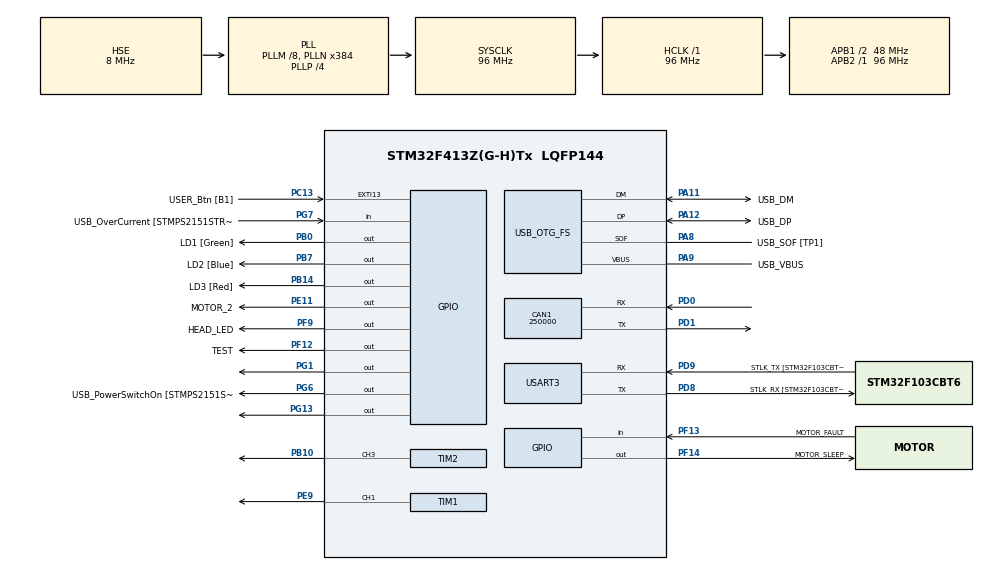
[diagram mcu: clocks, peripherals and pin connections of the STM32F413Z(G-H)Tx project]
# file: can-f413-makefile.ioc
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CAN1.BS1=CAN_BS1_8TQ
CAN1.BS2=CAN_BS2_3TQ
CAN1.CalculateBaudRate=250000
CAN1.CalculateTimeBit=4000
CAN1.CalculateTimeQuantum=333.3333333333333
Mcu.Family=STM32F4
Mcu.Name=STM32F413Z(G-H)Tx
Mcu.Package=LQFP144
NVIC.CAN1_RX0_IRQn=true\:0\:0\:false\:false\:true\:true\:true\:true
NVIC.PriorityGroup=NVIC_PRIORITYGROUP_4
NVIC.TIM4_IRQn=true\:0\:0\:false\:false\:true\:true\:true\:true
NVIC.TIM5_IRQn=true\:0\:0\:false\:false\:true\:true\:true\:true
PA10.GPIO_Label=USB_ID
PA10.Signal=USB_OTG_FS_ID
PA11.GPIO_Label=USB_DM
PA11.Mode=Device_Only
PA11.Signal=USB_OTG_FS_DM
PA12.GPIO_Label=USB_DP
PA12.Mode=Device_Only
PA12.Signal=USB_OTG_FS_DP
PA13.GPIO_Label=TMS
PA13.Mode=Serial_Wire
PA13.Signal=SYS_JTMS-SWDIO
PA14.GPIO_Label=TCK
PA14.Mode=Serial_Wire
PA14.Signal=SYS_JTCK-SWCLK
PA8.GPIO_Label=USB_SOF [TP1]
PA8.Mode=Activate_SOF_FS
PA8.Signal=USB_OTG_FS_SOF
PA9.GPIO_Label=USB_VBUS
PA9.Mode=Activate_VBUS
PA9.Signal=USB_OTG_FS_VBUS
PB0.GPIO_Label=LD1 [Green]
PB0.Signal=GPIO_Output
PB10.Signal=S_TIM2_CH3
PB14.GPIO_Label=LD3 [Red]
PB14.Signal=GPIO_Output
PB3.GPIO_Label=SWO
PB3.Signal=SYS_JTDO-SWO
PB7.GPIO_Label=LD2 [Blue]
PB7.Signal=GPIO_Output
PC13.GPIO_Label=USER_Btn [B1]
PC13.Signal=GPXTI13
PC14-OSC32_IN.Mode=LSE-External-Oscillator
PC14-OSC32_IN.Signal=RCC_OSC32_IN
PC15-OSC32_OUT.Mode=LSE-External-Oscillator
PC15-OSC32_OUT.Signal=RCC_OSC32_OUT
PD0.Mode=CAN_Activate
PD0.Signal=CAN1_RX
PD1.Mode=CAN_Activate
PD1.Signal=CAN1_TX
PD8.GPIO_Label=STLK_RX [STM32F103CBT6_PA3]
PD8.Mode=Asynchronous
PD8.Signal=USART3_TX
PD9.GPIO_Label=STLK_TX [STM32F103CBT6_PA2]
PD9.Mode=Asynchronous
PD9.Signal=USART3_RX
PE11.GPIO_Label=MOTOR_2
PE11.Signal=GPIO_Output
PE9.Signal=S_TIM1_CH1
PF12.GPIO_Label=TEST
PF12.GPIO_PuPd=GPIO_PULLUP
PF12.Signal=GPIO_Output
PF13.GPIO_Label=MOTOR_FAULT
PF13.Signal=GPIO_Input
PF14.GPIO_Label=MOTOR_SLEEP
PF14.GPIO_PuPd=GPIO_PULLUP
PF14.PinState=GPIO_PIN_SET
PF14.Signal=GPIO_Output
PF9.GPIO_Label=HEAD_LED
PF9.Signal=GPIO_Output
PG1.Signal=GPIO_Output
PG13.Signal=GPIO_Output
PG6.GPIO_Label=USB_PowerSwitchOn [STMPS2151STR_EN]
PG6.Signal=GPIO_Output
PG7.GPIO_Label=USB_OverCurrent [STMPS2151STR_FAULT]
PG7.Signal=GPIO_Input
PH0\ -\ OSC_IN.GPIO_Label=MCO
PH0\ -\ OSC_IN.Mode=HSE-External-Clock-Source
PH0\ -\ OSC_IN.Signal=RCC_OSC_IN
PH1\ -\ OSC_OUT.Mode=HSE-External-Clock-Source
PH1\ -\ OSC_OUT.Signal=RCC_OSC_OUT
ProjectManager.HeapSize=0x200
ProjectManager.StackSize=0x400
ProjectManager.TargetToolchain=Makefile
RCC.48MHZClocksFreq_Value=24000000
RCC.AHBFreq_Value=96000000
RCC.APB1CLKDivider=RCC_HCLK_DIV2
RCC.APB1Freq_Value=48000000
RCC.APB1TimFreq_Value=96000000
RCC.APB2Freq_Value=96000000
RCC.APB2TimFreq_Value=96000000
RCC.CortexFreq_Value=96000000
RCC.HCLKFreq_Value=96000000
RCC.HSE_VALUE=8000000
RCC.HSI_VALUE=16000000
RCC.PLLM=8
RCC.PLLMUL=RCC_PLL_MUL9
RCC.PLLN=384
RCC.PLLP=RCC_PLLP_DIV4
RCC.PLLQ=8
RCC.PRESCALERUSB=RCC_USBCLKSOURCE_PLL_DIV1_5
RCC.SYSCLKFreq_VALUE=96000000
RCC.SYSCLKSource=RCC_SYSCLKSOURCE_PLLCLK
RCC.SYSCLKSourceVirtual=RCC_SYSCLKSOURCE_PLLCLK
RCC.USBFreq_Value=48000000
RCC.VCOOutputFreq_Value=384000000
SH.S_TIM1_CH1.0=TIM1_CH1,PWM Generation1 CH1
SH.S_TIM2_CH3.0=TIM2_CH3,PWM Generation3 CH3
TIM1.Channel-PWM\ Generation1\ CH1=TIM_CHANNEL_1
TIM1.Period=99
TIM1.Prescaler=96
TIM2.Channel-PWM\ Generation3\ CH3=TIM_CHANNEL_3
TIM2.Period=19999
TIM2.Period=19999
TIM2.Prescaler=96
TIM4.Period=999
TIM4.Prescaler=9599
TIM5.Period=99999
TIM5.Prescaler=9699
USART3.VirtualMode=VM_ASYNC
USB_OTG_FS.VirtualMode=Device_Only
VP_TIM1_VS_ClockSourceINT.Mode=Internal
VP_TIM2_VS_ClockSourceINT.Mode=Internal
VP_TIM4_VS_ClockSourceINT.Mode=Internal
VP_TIM5_VS_ClockSourceINT.Mode=Internal
board=NUCLEO-F413ZH

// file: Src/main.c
/* USER CODE BEGIN Header */
/**
  ******************************************************************************
  * @file           : main.c
  * @brief          : Main program body
  ******************************************************************************
  * @attention
  *
  * Copyright (c) 2026 STMicroelectronics.
  * All rights reserved.
  *
  * This software is licensed under terms that can be found in the LICENSE file
  * in the root directory of this software component.
  * If no LICENSE file comes with this software, it is provided AS-IS.
  *
  ******************************************************************************
  */
/* USER CODE END Header */
#include "main.h"

CAN_HandleTypeDef hcan1;

TIM_HandleTypeDef htim2;
TIM_HandleTypeDef htim4;
TIM_HandleTypeDef htim5;

UART_HandleTypeDef huart3;

PCD_HandleTypeDef hpcd_USB_OTG_FS;

CAN_TxHeaderTypeDef   TxHeader;
CAN_RxHeaderTypeDef   RxHeader;
uint8_t               TxData[8];
uint8_t               RxData[8];
uint32_t              TxMailbox;

uint8_t wheels_running;
uint8_t wheel_speed;

void SystemClock_Config(void);
static void MX_GPIO_Init(void);
static void MX_CAN1_Init(void);
static void MX_USART3_UART_Init(void);
static void MX_USB_OTG_FS_PCD_Init(void);
static void MX_TIM2_Init(void);
static void MX_TIM5_Init(void);
static void MX_TIM4_Init(void);

int main(void)
{

  /* MCU Configuration--------------------------------------------------------*/

  /* Reset of all peripherals, Initializes the Flash interface and the Systick. */
  HAL_Init();

  /* Configure the system clock */
  SystemClock_Config();

  /* Initialize all configured peripherals */
  MX_GPIO_Init();
  MX_CAN1_Init();
  MX_USART3_UART_Init();
  MX_USB_OTG_FS_PCD_Init();
  MX_TIM2_Init();
  MX_TIM5_Init();
  MX_TIM4_Init();
  /* USER CODE BEGIN 2 */
  // --- STEP 1: CAN Filter Configuration ---
  // Setting all IDs and Masks to 0 accepts EVERY incoming message for testing purposes.
  CAN_FilterTypeDef sFilterConfig;

  sFilterConfig.FilterBank = 0;
  sFilterConfig.FilterMode = CAN_FILTERMODE_IDMASK;
  sFilterConfig.FilterScale = CAN_FILTERSCALE_32BIT;
  sFilterConfig.FilterIdHigh = 0x0000;
  sFilterConfig.FilterIdLow = 0x0000;
  sFilterConfig.FilterMaskIdHigh = 0x0000;
  sFilterConfig.FilterMaskIdLow = 0x0000;
  sFilterConfig.FilterFIFOAssignment = CAN_RX_FIFO0;
  sFilterConfig.FilterActivation = ENABLE;
  sFilterConfig.SlaveStartFilterBank = 14;

  if (HAL_CAN_ConfigFilter(&hcan1, &sFilterConfig) != HAL_OK)
  {
      Error_Handler();
  }

  // --- STEP 2: Start the CAN Peripheral ---
  if (HAL_CAN_Start(&hcan1) != HAL_OK)
  {
      Error_Handler();
  }

  // --- STEP 3: Activate RX Interrupt Notifications ---
  if (HAL_CAN_ActivateNotification(&hcan1, CAN_IT_RX_FIFO0_MSG_PENDING) != HAL_OK)
  {
      Error_Handler();
  }

  // --- STEP 4: Prepare Tx Message Header Attributes ---
  TxHeader.StdId = 0x102;          // Example Message Identifier (Standard ID)
  TxHeader.RTR = CAN_RTR_DATA;     // We are sending data frames, not remote requests
  TxHeader.IDE = CAN_ID_STD;       // Standard 11-bit identifier format
  TxHeader.DLC = 1;                // Sending 4 bytes of data payload
  TxHeader.TransmitGlobalTime = DISABLE;

  wheels_running = 0;
  wheel_speed = 0;

  HAL_TIM_PWM_Start(&htim2, TIM_CHANNEL_3);
  HAL_TIM_Base_Start_IT(&htim4);
  HAL_TIM_Base_Start_IT(&htim5);

  HAL_GPIO_WritePin(GPIOF, GPIO_PIN_14, GPIO_PIN_SET); //SLEEP PIN HIGH
  /* USER CODE END 2 */

  /* Infinite loop */
  /* USER CODE BEGIN WHILE */

  /* Infinite loop */
  /* USER CODE BEGIN WHILE */
  while (1)
  {
    /* USER CODE END WHILE */

    // SHOWCASE LOOP
    if (0) {
      // Internal LED
      HAL_GPIO_TogglePin(GPIOB, GPIO_PIN_0);
      HAL_Delay(1000);
      HAL_GPIO_TogglePin(GPIOB, GPIO_PIN_0);
      HAL_Delay(1000);

      // Headlight LEDs
      HAL_GPIO_TogglePin(GPIOF, GPIO_PIN_9);
      HAL_Delay(1000);
      HAL_GPIO_TogglePin(GPIOF, GPIO_PIN_9);
      HAL_Delay(1000);

      // Bonnet servo
      __HAL_TIM_SET_COMPARE(&htim2, TIM_CHANNEL_3, 1200);
      HAL_Delay(1000);
      __HAL_TIM_SET_COMPARE(&htim2, TIM_CHANNEL_3, 800);
      HAL_Delay(1000);

      // Wheel motors
      //HAL_GPIO_TogglePin(GPIOE, GPIO_PIN_9); // Motors 1
      HAL_GPIO_TogglePin(GPIOE, GPIO_PIN_11); // Motors 2
      HAL_Delay(500);
      HAL_GPIO_TogglePin(GPIOE, GPIO_PIN_11); // Motors 2
      HAL_Delay(1000);
    }
  }
  /* USER CODE END 3 */
}

void SystemClock_Config(void)
{
  RCC_OscInitTypeDef RCC_OscInitStruct = {0};
  RCC_ClkInitTypeDef RCC_ClkInitStruct = {0};

  /** Configure the main internal regulator output voltage
  */
  __HAL_RCC_PWR_CLK_ENABLE();
  __HAL_PWR_VOLTAGESCALING_CONFIG(PWR_REGULATOR_VOLTAGE_SCALE1);

  /** Initializes the RCC Oscillators according to the specified parameters
  * in the RCC_OscInitTypeDef structure.
  */
  RCC_OscInitStruct.OscillatorType = RCC_OSCILLATORTYPE_HSE;
  RCC_OscInitStruct.HSEState = RCC_HSE_BYPASS;
  RCC_OscInitStruct.PLL.PLLState = RCC_PLL_ON;
  RCC_OscInitStruct.PLL.PLLSource = RCC_PLLSOURCE_HSE;
  RCC_OscInitStruct.PLL.PLLM = 8;
  RCC_OscInitStruct.PLL.PLLN = 384;
  RCC_OscInitStruct.PLL.PLLP = RCC_PLLP_DIV4;
  RCC_OscInitStruct.PLL.PLLQ = 8;
  RCC_OscInitStruct.PLL.PLLR = 2;
  if (HAL_RCC_OscConfig(&RCC_OscInitStruct) != HAL_OK)
  {
    Error_Handler();
  }

  /** Initializes the CPU, AHB and APB buses clocks
  */
  RCC_ClkInitStruct.ClockType = RCC_CLOCKTYPE_HCLK|RCC_CLOCKTYPE_SYSCLK
                              |RCC_CLOCKTYPE_PCLK1|RCC_CLOCKTYPE_PCLK2;
  RCC_ClkInitStruct.SYSCLKSource = RCC_SYSCLKSOURCE_PLLCLK;
  RCC_ClkInitStruct.AHBCLKDivider = RCC_SYSCLK_DIV1;
  RCC_ClkInitStruct.APB1CLKDivider = RCC_HCLK_DIV2;
  RCC_ClkInitStruct.APB2CLKDivider = RCC_HCLK_DIV1;

  if (HAL_RCC_ClockConfig(&RCC_ClkInitStruct, FLASH_LATENCY_3) != HAL_OK)
  {
    Error_Handler();
  }
}

static void MX_CAN1_Init(void)
{

  hcan1.Instance = CAN1;
  hcan1.Init.Prescaler = 16;
  hcan1.Init.Mode = CAN_MODE_NORMAL;
  hcan1.Init.SyncJumpWidth = CAN_SJW_1TQ;
  hcan1.Init.TimeSeg1 = CAN_BS1_8TQ;
  hcan1.Init.TimeSeg2 = CAN_BS2_3TQ;
  hcan1.Init.TimeTriggeredMode = DISABLE;
  hcan1.Init.AutoBusOff = DISABLE;
  hcan1.Init.AutoWakeUp = DISABLE;
  hcan1.Init.AutoRetransmission = DISABLE;
  hcan1.Init.ReceiveFifoLocked = DISABLE;
  hcan1.Init.TransmitFifoPriority = DISABLE;
  if (HAL_CAN_Init(&hcan1) != HAL_OK)
  {
    Error_Handler();
  }

}

static void MX_TIM2_Init(void)
{

  TIM_ClockConfigTypeDef sClockSourceConfig = {0};
  TIM_MasterConfigTypeDef sMasterConfig = {0};
  TIM_OC_InitTypeDef sConfigOC = {0};

  htim2.Instance = TIM2;
  htim2.Init.Prescaler = 96;
  htim2.Init.CounterMode = TIM_COUNTERMODE_UP;
  htim2.Init.Period = 19999;
  htim2.Init.Period = 19999;
  htim2.Init.ClockDivision = TIM_CLOCKDIVISION_DIV1;
  htim2.Init.AutoReloadPreload = TIM_AUTORELOAD_PRELOAD_DISABLE;
  if (HAL_TIM_Base_Init(&htim2) != HAL_OK)
  {
    Error_Handler();
  }
  sClockSourceConfig.ClockSource = TIM_CLOCKSOURCE_INTERNAL;
  if (HAL_TIM_ConfigClockSource(&htim2, &sClockSourceConfig) != HAL_OK)
  {
    Error_Handler();
  }
  if (HAL_TIM_PWM_Init(&htim2) != HAL_OK)
  {
    Error_Handler();
  }
  sMasterConfig.MasterOutputTrigger = TIM_TRGO_RESET;
  sMasterConfig.MasterSlaveMode = TIM_MASTERSLAVEMODE_DISABLE;
  if (HAL_TIMEx_MasterConfigSynchronization(&htim2, &sMasterConfig) != HAL_OK)
  {
    Error_Handler();
  }
  sConfigOC.OCMode = TIM_OCMODE_PWM1;
  sConfigOC.Pulse = 0;
  sConfigOC.OCPolarity = TIM_OCPOLARITY_HIGH;
  sConfigOC.OCFastMode = TIM_OCFAST_DISABLE;
  if (HAL_TIM_PWM_ConfigChannel(&htim2, &sConfigOC, TIM_CHANNEL_3) != HAL_OK)
  {
    Error_Handler();
  }
  HAL_TIM_MspPostInit(&htim2);

}

static void MX_TIM4_Init(void)
{

  TIM_ClockConfigTypeDef sClockSourceConfig = {0};
  TIM_MasterConfigTypeDef sMasterConfig = {0};

  htim4.Instance = TIM4;
  htim4.Init.Prescaler = 9599;
  htim4.Init.CounterMode = TIM_COUNTERMODE_UP;
  htim4.Init.Period = 999;
  htim4.Init.ClockDivision = TIM_CLOCKDIVISION_DIV1;
  htim4.Init.AutoReloadPreload = TIM_AUTORELOAD_PRELOAD_DISABLE;
  if (HAL_TIM_Base_Init(&htim4) != HAL_OK)
  {
    Error_Handler();
  }
  sClockSourceConfig.ClockSource = TIM_CLOCKSOURCE_INTERNAL;
  if (HAL_TIM_ConfigClockSource(&htim4, &sClockSourceConfig) != HAL_OK)
  {
    Error_Handler();
  }
  sMasterConfig.MasterOutputTrigger = TIM_TRGO_RESET;
  sMasterConfig.MasterSlaveMode = TIM_MASTERSLAVEMODE_DISABLE;
  if (HAL_TIMEx_MasterConfigSynchronization(&htim4, &sMasterConfig) != HAL_OK)
  {
    Error_Handler();
  }

}

static void MX_TIM5_Init(void)
{

  TIM_ClockConfigTypeDef sClockSourceConfig = {0};
  TIM_MasterConfigTypeDef sMasterConfig = {0};

  htim5.Instance = TIM5;
  htim5.Init.Prescaler = 9699;
  htim5.Init.CounterMode = TIM_COUNTERMODE_UP;
  htim5.Init.Period = 99999;
  htim5.Init.ClockDivision = TIM_CLOCKDIVISION_DIV1;
  htim5.Init.AutoReloadPreload = TIM_AUTORELOAD_PRELOAD_DISABLE;
  if (HAL_TIM_Base_Init(&htim5) != HAL_OK)
  {
    Error_Handler();
  }
  sClockSourceConfig.ClockSource = TIM_CLOCKSOURCE_INTERNAL;
  if (HAL_TIM_ConfigClockSource(&htim5, &sClockSourceConfig) != HAL_OK)
  {
    Error_Handler();
  }
  sMasterConfig.MasterOutputTrigger = TIM_TRGO_RESET;
  sMasterConfig.MasterSlaveMode = TIM_MASTERSLAVEMODE_DISABLE;
  if (HAL_TIMEx_MasterConfigSynchronization(&htim5, &sMasterConfig) != HAL_OK)
  {
    Error_Handler();
  }

}

static void MX_USART3_UART_Init(void)
{

  huart3.Instance = USART3;
  huart3.Init.BaudRate = 115200;
  huart3.Init.WordLength = UART_WORDLENGTH_8B;
  huart3.Init.StopBits = UART_STOPBITS_1;
  huart3.Init.Parity = UART_PARITY_NONE;
  huart3.Init.Mode = UART_MODE_TX_RX;
  huart3.Init.HwFlowCtl = UART_HWCONTROL_NONE;
  huart3.Init.OverSampling = UART_OVERSAMPLING_16;
  if (HAL_UART_Init(&huart3) != HAL_OK)
  {
    Error_Handler();
  }

}

static void MX_USB_OTG_FS_PCD_Init(void)
{

  hpcd_USB_OTG_FS.Instance = USB_OTG_FS;
  hpcd_USB_OTG_FS.Init.dev_endpoints = 6;
  hpcd_USB_OTG_FS.Init.speed = PCD_SPEED_FULL;
  hpcd_USB_OTG_FS.Init.dma_enable = DISABLE;
  hpcd_USB_OTG_FS.Init.phy_itface = PCD_PHY_EMBEDDED;
  hpcd_USB_OTG_FS.Init.Sof_enable = ENABLE;
  hpcd_USB_OTG_FS.Init.low_power_enable = DISABLE;
  hpcd_USB_OTG_FS.Init.lpm_enable = DISABLE;
  hpcd_USB_OTG_FS.Init.battery_charging_enable = ENABLE;
  hpcd_USB_OTG_FS.Init.vbus_sensing_enable = ENABLE;
  hpcd_USB_OTG_FS.Init.use_dedicated_ep1 = DISABLE;
  if (HAL_PCD_Init(&hpcd_USB_OTG_FS) != HAL_OK)
  {
    Error_Handler();
  }

}

static void MX_GPIO_Init(void)
{
  GPIO_InitTypeDef GPIO_InitStruct = {0};

  /* GPIO Ports Clock Enable */
  __HAL_RCC_GPIOC_CLK_ENABLE();
  __HAL_RCC_GPIOF_CLK_ENABLE();
  __HAL_RCC_GPIOH_CLK_ENABLE();
  __HAL_RCC_GPIOB_CLK_ENABLE();
  __HAL_RCC_GPIOG_CLK_ENABLE();
  __HAL_RCC_GPIOE_CLK_ENABLE();
  __HAL_RCC_GPIOD_CLK_ENABLE();
  __HAL_RCC_GPIOA_CLK_ENABLE();

  /*Configure GPIO pin Output Level */
  HAL_GPIO_WritePin(GPIOF, HEAD_LED_Pin|TEST_Pin, GPIO_PIN_RESET);

  /*Configure GPIO pin Output Level */
  HAL_GPIO_WritePin(GPIOB, LD1_Pin|LD3_Pin|LD2_Pin, GPIO_PIN_RESET);

  /*Configure GPIO pin Output Level */
  HAL_GPIO_WritePin(MOTOR_SLEEP_GPIO_Port, MOTOR_SLEEP_Pin, GPIO_PIN_SET);

  /*Configure GPIO pin Output Level */
  HAL_GPIO_WritePin(GPIOG, GPIO_PIN_1|USB_PowerSwitchOn_Pin|GPIO_PIN_13, GPIO_PIN_RESET);

  /*Configure GPIO pin Output Level */
  HAL_GPIO_WritePin(MOTOR_2_GPIO_Port, MOTOR_2_Pin, GPIO_PIN_RESET);

  /*Configure GPIO pin : USER_Btn_Pin */
  GPIO_InitStruct.Pin = USER_Btn_Pin;
  GPIO_InitStruct.Mode = GPIO_MODE_IT_RISING;
  GPIO_InitStruct.Pull = GPIO_NOPULL;
  HAL_GPIO_Init(USER_Btn_GPIO_Port, &GPIO_InitStruct);

  /*Configure GPIO pin : HEAD_LED_Pin */
  GPIO_InitStruct.Pin = HEAD_LED_Pin;
  GPIO_InitStruct.Mode = GPIO_MODE_OUTPUT_PP;
  GPIO_InitStruct.Pull = GPIO_NOPULL;
  GPIO_InitStruct.Speed = GPIO_SPEED_FREQ_LOW;
  HAL_GPIO_Init(HEAD_LED_GPIO_Port, &GPIO_InitStruct);

  /*Configure GPIO pins : LD1_Pin LD3_Pin LD2_Pin */
  GPIO_InitStruct.Pin = LD1_Pin|LD3_Pin|LD2_Pin;
  GPIO_InitStruct.Mode = GPIO_MODE_OUTPUT_PP;
  GPIO_InitStruct.Pull = GPIO_NOPULL;
  GPIO_InitStruct.Speed = GPIO_SPEED_FREQ_LOW;
  HAL_GPIO_Init(GPIOB, &GPIO_InitStruct);

  /*Configure GPIO pins : TEST_Pin MOTOR_SLEEP_Pin */
  GPIO_InitStruct.Pin = TEST_Pin|MOTOR_SLEEP_Pin;
  GPIO_InitStruct.Mode = GPIO_MODE_OUTPUT_PP;
  GPIO_InitStruct.Pull = GPIO_PULLUP;
  GPIO_InitStruct.Speed = GPIO_SPEED_FREQ_LOW;
  HAL_GPIO_Init(GPIOF, &GPIO_InitStruct);

  /*Configure GPIO pin : MOTOR_FAULT_Pin */
  GPIO_InitStruct.Pin = MOTOR_FAULT_Pin;
  GPIO_InitStruct.Mode = GPIO_MODE_INPUT;
  GPIO_InitStruct.Pull = GPIO_NOPULL;
  HAL_GPIO_Init(MOTOR_FAULT_GPIO_Port, &GPIO_InitStruct);

  /*Configure GPIO pins : PG1 USB_PowerSwitchOn_Pin PG13 */
  GPIO_InitStruct.Pin = GPIO_PIN_1|USB_PowerSwitchOn_Pin|GPIO_PIN_13;
  GPIO_InitStruct.Mode = GPIO_MODE_OUTPUT_PP;
  GPIO_InitStruct.Pull = GPIO_NOPULL;
  GPIO_InitStruct.Speed = GPIO_SPEED_FREQ_LOW;
  HAL_GPIO_Init(GPIOG, &GPIO_InitStruct);

  /*Configure GPIO pin : MOTOR_2_Pin */
  GPIO_InitStruct.Pin = MOTOR_2_Pin;
  GPIO_InitStruct.Mode = GPIO_MODE_OUTPUT_PP;
  GPIO_InitStruct.Pull = GPIO_NOPULL;
  GPIO_InitStruct.Speed = GPIO_SPEED_FREQ_LOW;
  HAL_GPIO_Init(MOTOR_2_GPIO_Port, &GPIO_InitStruct);

  /*Configure GPIO pin : USB_OverCurrent_Pin */
  GPIO_InitStruct.Pin = USB_OverCurrent_Pin;
  GPIO_InitStruct.Mode = GPIO_MODE_INPUT;
  GPIO_InitStruct.Pull = GPIO_NOPULL;
  HAL_GPIO_Init(USB_OverCurrent_GPIO_Port, &GPIO_InitStruct);

}

/* USER CODE BEGIN 4 */
void HAL_CAN_RxFifo0MsgPendingCallback(CAN_HandleTypeDef *hcan)
{
  // Retrieve the message from the FIFO buffer
  if (HAL_CAN_GetRxMessage(hcan, CAN_RX_FIFO0, &RxHeader, RxData) == HAL_OK)
  {
    // =====================================================
    // Direkte Kontrolle von Komponenten
    // =====================================================
    // Headlights
    if (RxHeader.StdId == 0x240 && RxHeader.DLC == 1)
    {
      if (RxData[0] == 0x11) {
      	HAL_GPIO_WritePin(GPIOF, GPIO_PIN_9, GPIO_PIN_SET);
      } else {
      	HAL_GPIO_WritePin(GPIOF, GPIO_PIN_9, GPIO_PIN_RESET);
      }
    }

    // Bonnet
    if (RxHeader.StdId == 0x250 && RxHeader.DLC == 1)
    {
      if (RxData[0] == 0x11) {
      	__HAL_TIM_SET_COMPARE(&htim2, TIM_CHANNEL_3, 1200);
      } else {
      	__HAL_TIM_SET_COMPARE(&htim2, TIM_CHANNEL_3, 800);
      }
    }
  }
}

void HAL_TIM_PeriodElapsedCallback(TIM_HandleTypeDef *htim)
{
  if (htim->Instance == TIM5)
  {
    // Toggle wheels
    if (wheels_running) {
      HAL_GPIO_WritePin(GPIOE, GPIO_PIN_11, GPIO_PIN_RESET); // Motors 2
      wheels_running = 0;
    } else {
      HAL_GPIO_WritePin(GPIOE, GPIO_PIN_11, GPIO_PIN_RESET); // Motors 2
      wheels_running = 1;
    }
  }

  if (htim->Instance == TIM4)
  {
    TxData[0] = wheels_running * 0xFF;
    if (HAL_CAN_AddTxMessage(&hcan1, &TxHeader, TxData, &TxMailbox) != HAL_OK)
    {
        // Handle transmission error
    }
  }
}
/* USER CODE END 4 */

void Error_Handler(void)
{
  __disable_irq();
  while (1)
  {
  }
}
